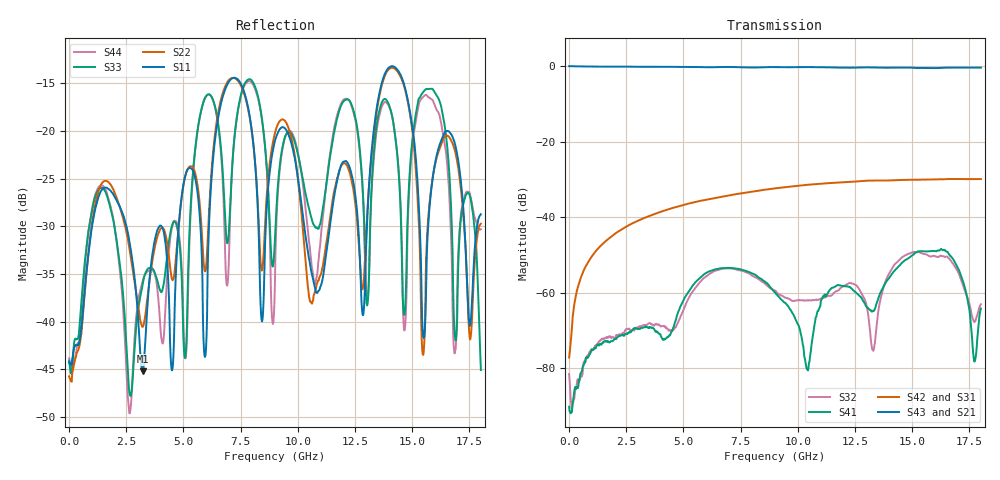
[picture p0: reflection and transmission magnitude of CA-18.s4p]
! MARKI MICROWAVE INC.
! Email:  info@markimicrowave.com  Phone:  408-778-4200
! Model Number:  CA-18  Date:  08/13
! Filename:		CA_18.S4P  Version: 1.0
! Description:  4-port S-parameter data for Directional Coupler CA-18
! Frequency Range: 	10 MHz to 18 GHz
! Port Configuration:	PORT 1: Input, PORT 2: Output Port 3: Coupled and Port 4: Isolated
! S3P File: Measurements: Mag<S11> Ang<S11> Mag<S12> Ang<S12> Mag<S13> Ang<S13> Mag<S14> Ang<S14>! row 1
!  Mag<S21> Ang<S21> Mag<S22> Ang<S22> Mag<S23> Ang<S23> Mag<S24> Ang<S24>! row 2
!  Mag<S31> Ang<S31> Mag<S32> Ang<S32> Mag<S33> Ang<S33> Mag<S34> Ang<S34>! row 3
!  Mag<S41> Ang<S41> Mag<S42> Ang<S42> Mag<S43> Ang<S43> Mag<S44> Ang<S44>! row 4
# Hz S  dB  R 50
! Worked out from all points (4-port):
!   801 points, 10 MHz to 18 GHz, reference 50 ohm
!   strongest paths, dB at 10 MHz, 4.508 GHz, 9.005 GHz, 13.5 GHz, 18 GHz:
!     S43: 0.0, -0.2, -0.3, -0.4, -0.4
!     S21: 0.0, -0.2, -0.4, -0.5, -0.4
!     S42: -77.2, -37.6, -32.4, -30.3, -29.9
!     S31: -81.7, -37.6, -32.4, -30.3, -29.9
!     S41: -90.2, -70.2, -60.0, -61.8, -64.2
!     S32: -81.6, -70.1, -59.5, -65.6, -63.1
!   lowest |S11| = -45.2 dB at 3.226 GHz (marker M1), VSWR 1.01, Z = 50.4 - j0.366 ohm
!   |S11| at or under -10 dB: start of sweep to end of sweep
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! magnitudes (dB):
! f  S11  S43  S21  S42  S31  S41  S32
! 10 MHz  -44.3  0.0  0.0  -77.2  -81.7  -90.2  -81.6
! 3.226 GHz  -45.2  -0.2  -0.2  -40.4  -40.4  -69.3  -68.7
! 7.139 GHz  -14.5  -0.3  -0.4  -34.1  -34.1  -53.5  -53.6
! 10.44 GHz  -32.7  -0.3  -0.3  -31.4  -31.4  -80.6  -62.1
! 14.67 GHz  -15.3  -0.4  -0.5  -30.1  -30.1  -51.5  -50.2
! 15.82 GHz  -26.4  -0.6  -0.4  -30.0  -29.9  -49.0  -50.5
! 18 GHz  -28.7  -0.4  -0.4  -29.9  -29.9  -64.2  -63.1
